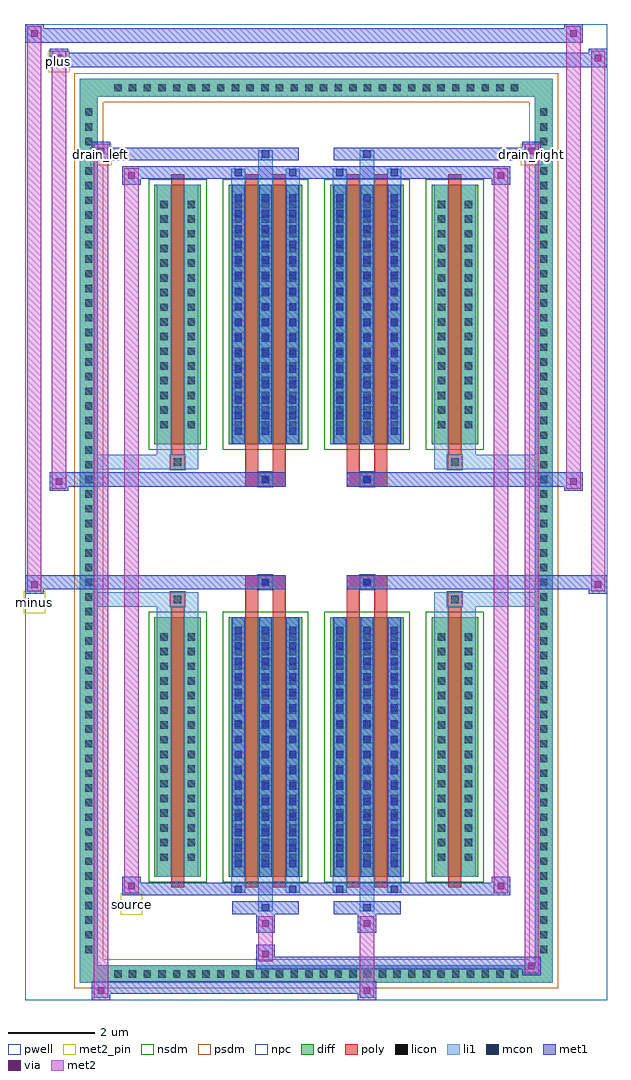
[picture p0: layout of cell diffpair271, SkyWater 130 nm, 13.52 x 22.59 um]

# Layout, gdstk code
import gdstk
lib = gdstk.Library(unit=1e-6, precision=5e-09)
def R(c, l, rs):  # rectangles x0, y0, x1, y1
    for r in rs: c.add(gdstk.rectangle(r[:2], r[2:], *l))
def A(c, l, x, y, w, h, nx, ny, dx, dy):  # array of equal rectangles
    R(c, l, [(x+i*dx, y+j*dy, x+i*dx+w, y+j*dy+h) for i in range(nx) for j in range(ny)])
def P(c, l, *ps):  # polygons
    for p in ps: c.add(gdstk.Polygon(p, *l))
pwell = (64, 44)
diff = (65, 20)
poly = (66, 20)
licon = (66, 44)
li1 = (67, 20)
mcon = (67, 44)
met1 = (68, 20)
via = (68, 44)
met2_pin = (69, 16)
met2 = (69, 20)
nsdm = (93, 44)
psdm = (94, 20)
npc = (95, 20)

diffpair271 = lib.new_cell('diffpair271')
R(diffpair271, pwell, [(-6.74,-10.86,6.74,11.73), (-4.06,-9.05,-0.01,-0.825), (0.01,-9.05,4.06,-0.825), (-4.06,0.825,-0.01,9.05), (0.01,0.825,4.06,9.05)])
A(diffpair271, diff, -4.795, -10.46, 0.41, 0.41, 28, 2, 0.34, 20.51)
A(diffpair271, diff, -5.47, -9.895, 0.41, 0.41, 1, 58, 0, 0.34)
A(diffpair271, diff, 5.06, -9.895, 0.41, 0.41, 1, 58, 0, 0.34)
R(diffpair271, diff, [(-4.795,-10.46,4.795,-10.05), (-5.47,-9.895,-5.06,9.895), (5.06,-9.895,5.47,9.895), (-3.75,-8.005,-2.67,-2.005), (-2.03,-8.005,-0.32,-2.005), (0.32,-8.005,2.03,-2.005), (2.67,-8.005,3.75,-2.005), (-3.75,2.005,-2.67,8.005), (-2.03,2.005,-0.32,8.005), (0.32,2.005,2.03,8.005), (2.67,2.005,3.75,8.005), (-4.795,10.05,4.795,10.46)])
P(diffpair271, diff, [(5.47,10.46),(-5.47,10.46),(-5.47,-10.05),(-5.06,-10.05),(-5.06,10.05),(5.06,10.05),(5.06,-10.05),(-5.06,-10.05),(-5.47,-10.05),(-5.47,-10.46),(5.47,-10.46)])
R(diffpair271, poly, [(-3.36,-8.255,-3.06,-1.755), (-1.64,-8.255,-1.34,-1.755), (-1.01,-8.255,-0.71,-1.755), (0.71,-8.255,1.01,-1.755), (1.34,-8.255,1.64,-1.755), (3.06,-8.255,3.36,-1.755), (-3.375,-1.755,-3.045,-1.425), (-3.375,-1.755,-3.045,-1.425), (-1.64,-1.755,-1.34,-1.355), (-1.01,-1.755,-0.71,-1.355), (0.71,-1.755,1.01,-1.355), (1.34,-1.755,1.64,-1.355), (3.045,-1.755,3.375,-1.425), (3.045,-1.755,3.375,-1.425), (-1.64,-1.355,-0.71,-1.025), (-1.34,-1.355,-1.01,-1.025), (0.71,-1.355,1.64,-1.025), (1.01,-1.355,1.34,-1.025), (-1.64,1.025,-0.71,1.355), (-1.34,1.025,-1.01,1.355), (0.71,1.025,1.64,1.355), (1.01,1.025,1.34,1.355), (-1.64,1.355,-1.34,1.755), (-1.01,1.355,-0.71,1.755), (0.71,1.355,1.01,1.755), (1.34,1.355,1.64,1.755), (-3.375,1.425,-3.045,1.755), (-3.375,1.425,-3.045,1.755), (3.045,1.425,3.375,1.755), (3.045,1.425,3.375,1.755), (-3.36,1.755,-3.06,8.255), (-1.64,1.755,-1.34,8.255), (-1.01,1.755,-0.71,8.255), (0.71,1.755,1.01,8.255), (1.34,1.755,1.64,8.255), (3.06,1.755,3.36,8.255)])
A(diffpair271, licon, -4.675, -10.34, 0.17, 0.17, 28, 2, 0.34, 20.51)
A(diffpair271, licon, -5.35, -9.775, 0.17, 0.17, 1, 58, 0, 0.34)
A(diffpair271, licon, 5.18, -9.775, 0.17, 0.17, 1, 58, 0, 0.34)
A(diffpair271, licon, -3.61, -7.64, 0.17, 0.17, 1, 16, 0, 0.34)
A(diffpair271, licon, -2.98, -7.64, 0.17, 0.17, 1, 16, 0, 0.34)
A(diffpair271, licon, -1.89, -7.64, 0.17, 0.17, 3, 16, 0.63, 0.34)
A(diffpair271, licon, 0.46, -7.64, 0.17, 0.17, 3, 16, 0.63, 0.34)
A(diffpair271, licon, 2.81, -7.64, 0.17, 0.17, 1, 16, 0, 0.34)
A(diffpair271, licon, 3.44, -7.64, 0.17, 0.17, 1, 16, 0, 0.34)
A(diffpair271, licon, -3.61, 2.37, 0.17, 0.17, 1, 16, 0, 0.34)
A(diffpair271, licon, -2.98, 2.37, 0.17, 0.17, 1, 16, 0, 0.34)
A(diffpair271, licon, -1.89, 2.37, 0.17, 0.17, 3, 16, 0.63, 0.34)
A(diffpair271, licon, 0.46, 2.37, 0.17, 0.17, 3, 16, 0.63, 0.34)
A(diffpair271, licon, 2.81, 2.37, 0.17, 0.17, 1, 16, 0, 0.34)
A(diffpair271, licon, 3.44, 2.37, 0.17, 0.17, 1, 16, 0, 0.34)
R(diffpair271, licon, [(-3.295,-1.675,-3.125,-1.505), (3.125,-1.675,3.295,-1.505), (-1.26,-1.275,-1.09,-1.105), (1.09,-1.275,1.26,-1.105), (-1.26,1.105,-1.09,1.275), (1.09,1.105,1.26,1.275), (-3.295,1.505,-3.125,1.675), (3.125,1.505,3.295,1.675)])
A(diffpair271, li1, -4.755, -10.42, 0.33, 0.33, 28, 2, 0.34, 20.51)
A(diffpair271, li1, -5.43, -9.855, 0.33, 0.33, 1, 58, 0, 0.34)
A(diffpair271, li1, 5.1, -9.855, 0.33, 0.33, 1, 58, 0, 0.34)
A(diffpair271, li1, -1.97, -8.005, 0.33, 6, 3, 2, 0.63, 10.01)
A(diffpair271, li1, 0.38, -8.005, 0.33, 6, 3, 2, 0.63, 10.01)
A(diffpair271, li1, -1.89, -7.79, 0.17, 0.17, 3, 16, 0.63, 0.36)
A(diffpair271, li1, -1.89, -7.79, 0.17, 5.57, 3, 2, 0.63, 10.01)
A(diffpair271, li1, 0.46, -7.79, 0.17, 0.17, 3, 16, 0.63, 0.36)
A(diffpair271, li1, 0.46, -7.79, 0.17, 5.57, 3, 2, 0.63, 10.01)
A(diffpair271, li1, -3.69, -7.72, 0.33, 0.33, 1, 16, 0, 0.34)
A(diffpair271, li1, -3.06, -7.72, 0.33, 0.33, 1, 16, 0, 0.34)
A(diffpair271, li1, -1.97, -7.72, 0.33, 0.33, 3, 16, 0.63, 0.34)
A(diffpair271, li1, 0.38, -7.72, 0.33, 0.33, 3, 16, 0.63, 0.34)
A(diffpair271, li1, 2.73, -7.72, 0.33, 0.33, 1, 16, 0, 0.34)
A(diffpair271, li1, 3.36, -7.72, 0.33, 0.33, 1, 16, 0, 0.34)
A(diffpair271, li1, -1.89, 2.22, 0.17, 0.17, 3, 16, 0.63, 0.36)
A(diffpair271, li1, 0.46, 2.22, 0.17, 0.17, 3, 16, 0.63, 0.36)
A(diffpair271, li1, -3.69, 2.29, 0.33, 0.33, 1, 16, 0, 0.34)
A(diffpair271, li1, -3.06, 2.29, 0.33, 0.33, 1, 16, 0, 0.34)
A(diffpair271, li1, -1.97, 2.29, 0.33, 0.33, 3, 16, 0.63, 0.34)
A(diffpair271, li1, 0.38, 2.29, 0.33, 0.33, 3, 16, 0.63, 0.34)
A(diffpair271, li1, 2.73, 2.29, 0.33, 0.33, 1, 16, 0, 0.34)
A(diffpair271, li1, 3.36, 2.29, 0.33, 0.33, 1, 16, 0, 0.34)
R(diffpair271, li1, [(-5.47,-10.46,-5.06,-10.05), (-5.47,-10.46,-5.06,-10.05), (-5.06,-10.46,5.06,-10.05), (5.06,-10.46,5.47,-10.05), (5.06,-10.46,5.47,-10.05), (-5.47,-10.05,-5.06,10.05), (5.06,-10.05,5.47,10.05), (-1.34,-8.81,-1.01,-8.005), (-1.26,-8.81,-1.09,-8.64), (1.01,-8.81,1.34,-8.005), (1.09,-8.81,1.26,-8.64), (-1.97,-8.38,-1.64,-8.005), (-1.89,-8.38,-1.72,-8.21), (-0.71,-8.38,-0.38,-8.005), (-0.63,-8.38,-0.46,-8.21), (0.38,-8.38,0.71,-8.005), (0.46,-8.38,0.63,-8.21), (1.64,-8.38,1.97,-8.005), (1.72,-8.38,1.89,-8.21), (-3.69,-8.005,-3.36,-2.005), (-3.06,-8.005,-2.73,-2.005), (2.73,-8.005,3.06,-2.005), (3.36,-8.005,3.69,-2.005), (-3.69,-2.005,-3.36,-1.425), (-3.06,-2.005,-2.73,-1.425), (2.73,-2.005,3.06,-1.425), (3.36,-2.005,3.69,-1.425), (-5.47,-1.755,-3.375,-1.425), (-3.69,-1.755,-3.375,-1.425), (-3.375,-1.755,-3.045,-1.425), (-3.045,-1.755,-2.73,-1.425), (2.73,-1.755,3.045,-1.425), (3.045,-1.755,3.375,-1.425), (3.045,-1.755,5.47,-1.425), (3.375,-1.755,3.69,-1.425), (-1.34,-1.355,-1.01,-1.025), (1.01,-1.355,1.34,-1.025), (-1.34,1.025,-1.01,1.355), (1.01,1.025,1.34,1.355), (-5.47,1.425,-3.375,1.755), (-3.69,1.425,-3.375,1.755), (-3.69,1.425,-3.36,2.005), (-3.375,1.425,-3.045,1.755), (-3.06,1.425,-2.73,2.005), (-3.045,1.425,-2.73,1.755), (2.73,1.425,3.045,1.755), (2.73,1.425,3.06,2.005), (3.045,1.425,3.375,1.755), (3.045,1.425,5.47,1.755), (3.36,1.425,3.69,2.005), (3.375,1.425,3.69,1.755), (-3.69,2.005,-3.36,8.005), (-3.06,2.005,-2.73,8.005), (2.73,2.005,3.06,8.005), (3.36,2.005,3.69,8.005), (-1.97,8.005,-1.64,8.38), (-1.34,8.005,-1.01,8.81), (-0.71,8.005,-0.38,8.38), (0.38,8.005,0.71,8.38), (1.01,8.005,1.34,8.81), (1.64,8.005,1.97,8.38), (-1.89,8.21,-1.72,8.38), (-0.63,8.21,-0.46,8.38), (0.46,8.21,0.63,8.38), (1.72,8.21,1.89,8.38), (-1.26,8.64,-1.09,8.81), (1.09,8.64,1.26,8.81), (-5.47,10.05,-5.06,10.46), (-5.47,10.05,-5.06,10.46), (-5.06,10.05,5.06,10.46), (5.06,10.05,5.47,10.46), (5.06,10.05,5.47,10.46)])
A(diffpair271, mcon, -1.89, -7.79, 0.17, 0.17, 3, 16, 0.63, 0.36)
A(diffpair271, mcon, 0.46, -7.79, 0.17, 0.17, 3, 16, 0.63, 0.36)
A(diffpair271, mcon, -1.89, 2.22, 0.17, 0.17, 3, 16, 0.63, 0.36)
A(diffpair271, mcon, 0.46, 2.22, 0.17, 0.17, 3, 16, 0.63, 0.36)
R(diffpair271, mcon, [(-1.26,-8.81,-1.09,-8.64), (1.09,-8.81,1.26,-8.64), (-1.89,-8.38,-1.72,-8.21), (-0.63,-8.38,-0.46,-8.21), (0.46,-8.38,0.63,-8.21), (1.72,-8.38,1.89,-8.21), (-1.26,-1.275,-1.09,-1.105), (1.09,-1.275,1.26,-1.105), (-1.26,1.105,-1.09,1.275), (1.09,1.105,1.26,1.275), (-1.89,8.21,-1.72,8.38), (-0.63,8.21,-0.46,8.38), (0.46,8.21,0.63,8.38), (1.72,8.21,1.89,8.38), (-1.26,8.64,-1.09,8.81), (1.09,8.64,1.26,8.81)])
A(diffpair271, met1, -1.95, -8.005, 0.29, 6, 3, 2, 0.63, 10.01)
A(diffpair271, met1, 0.4, -8.005, 0.29, 6, 3, 2, 0.63, 10.01)
A(diffpair271, met1, -1.95, -7.85, 0.29, 0.29, 3, 16, 0.63, 0.36)
A(diffpair271, met1, 0.4, -7.85, 0.29, 0.29, 3, 16, 0.63, 0.36)
A(diffpair271, met1, -1.95, 2.16, 0.29, 0.29, 3, 16, 0.63, 0.36)
A(diffpair271, met1, 0.4, 2.16, 0.29, 0.29, 3, 16, 0.63, 0.36)
R(diffpair271, met1, [(-5.2,-10.86,-4.77,-10.43), (0.96,-10.86,1.39,-10.43), (-5.2,-10.72,1.39,-10.43), (4.77,-10.29,5.2,-9.86), (-1.39,-10.15,5.2,-9.86), (-1.39,-10.01,-0.96,-9.58), (-1.39,-9.3,-0.96,-8.87), (0.96,-9.3,1.39,-8.87), (-1.95,-8.87,-0.4,-8.58), (-1.32,-8.87,-1.03,-8.58), (0.4,-8.87,1.95,-8.58), (1.03,-8.87,1.32,-8.58), (-4.49,-8.44,-4.06,-8.01), (-4.49,-8.44,-1.95,-8.15), (-1.95,-8.44,-1.66,-8.15), (-1.95,-8.44,-0.4,-8.15), (-0.69,-8.44,-0.4,-8.15), (-0.4,-8.44,0.4,-8.15), (0.4,-8.44,0.69,-8.15), (0.4,-8.44,1.95,-8.15), (1.66,-8.44,1.95,-8.15), (1.95,-8.44,4.49,-8.15), (4.06,-8.44,4.49,-8.01), (-6.74,-1.455,-6.31,-1.025), (6.31,-1.455,6.74,-1.025), (-6.74,-1.355,-0.71,-1.025), (-1.64,-1.355,-0.71,-1.025), (0.71,-1.355,1.64,-1.025), (0.71,-1.355,6.74,-1.025), (-1.32,-1.335,-1.03,-1.045), (1.03,-1.335,1.32,-1.045), (-6.17,0.925,-5.74,1.355), (5.74,0.925,6.17,1.355), (-6.17,1.025,-1.64,1.355), (-1.64,1.025,-0.71,1.355), (0.71,1.025,1.64,1.355), (1.64,1.025,6.17,1.355), (-1.32,1.045,-1.03,1.335), (1.03,1.045,1.32,1.335), (-4.49,8.01,-4.06,8.44), (4.06,8.01,4.49,8.44), (-4.49,8.15,-1.95,8.44), (-1.95,8.15,-1.66,8.44), (-1.95,8.15,-0.4,8.44), (-0.69,8.15,-0.4,8.44), (-0.4,8.15,0.4,8.44), (0.4,8.15,0.69,8.44), (0.4,8.15,1.95,8.44), (1.66,8.15,1.95,8.44), (1.95,8.15,4.49,8.44), (-5.2,8.58,-4.77,9.01), (-5.2,8.58,-1.95,8.87), (-1.95,8.58,-0.4,8.87), (-1.32,8.58,-1.03,8.87), (0.4,8.58,1.95,8.87), (1.03,8.58,1.32,8.87), (1.95,8.58,5.2,8.87), (4.77,8.58,5.2,9.01), (-6.17,10.73,-5.74,11.16), (-6.17,10.73,-4.06,11.06), (-4.06,10.73,4.06,11.06), (4.06,10.73,6.74,11.06), (6.31,10.73,6.74,11.16), (-6.74,11.3,-6.31,11.73), (-6.74,11.3,-4.06,11.63), (-4.06,11.3,4.06,11.63), (4.06,11.3,6.17,11.63), (5.74,11.3,6.17,11.73)])
R(diffpair271, via, [(-5.06,-10.72,-4.91,-10.57), (1.1,-10.72,1.25,-10.57), (4.91,-10.15,5.06,-10), (-1.25,-9.87,-1.1,-9.72), (-1.25,-9.16,-1.1,-9.01), (1.1,-9.16,1.25,-9.01), (-4.35,-8.3,-4.2,-8.15), (4.2,-8.3,4.35,-8.15), (-6.6,-1.315,-6.45,-1.165), (6.45,-1.315,6.6,-1.165), (-6.03,1.065,-5.88,1.215), (5.88,1.065,6.03,1.215), (-4.35,8.15,-4.2,8.3), (4.2,8.15,4.35,8.3), (-5.06,8.72,-4.91,8.87), (4.91,8.72,5.06,8.87), (-6.03,10.87,-5.88,11.02), (6.45,10.87,6.6,11.02), (-6.6,11.44,-6.45,11.59), (5.88,11.44,6.03,11.59)])
R(diffpair271, met2_pin, [(-4.525,-8.89,-4.025,-8.39), (-6.775,-1.905,-6.275,-1.405), (-5.235,8.46,-4.735,8.96), (4.735,8.46,5.235,8.96), (-6.205,10.61,-5.705,11.11)])
R(diffpair271, met2, [(-5.15,-10.81,-4.82,-10.48), (-5.15,-10.81,-4.82,8.96), (1.01,-10.81,1.34,-10.48), (1.01,-10.48,1.34,-9.25), (4.82,-10.24,5.15,-9.91), (4.82,-10.24,5.15,8.96), (-1.34,-9.96,-1.01,-9.63), (-1.34,-9.63,-1.01,-9.25), (-1.34,-9.25,-1.01,-8.92), (1.01,-9.25,1.34,-8.92), (-4.44,-8.39,-4.11,-8.06), (-4.44,-8.39,-4.11,8.39), (4.11,-8.39,4.44,-8.06), (4.11,-8.39,4.44,8.39), (-6.69,-1.405,-6.36,-1.075), (-6.69,-1.405,-6.36,11.68), (6.36,-1.405,6.69,-1.075), (6.36,-1.405,6.69,11.11), (-6.12,0.975,-5.79,1.305), (-6.12,0.975,-5.79,11.11), (5.79,0.975,6.12,1.305), (5.79,0.975,6.12,11.68), (-4.44,8.06,-4.11,8.39), (4.11,8.06,4.44,8.39), (-5.15,8.63,-4.82,8.96), (4.82,8.63,5.15,8.96), (-6.12,10.78,-5.79,11.11), (6.36,10.78,6.69,11.11), (-6.69,11.35,-6.36,11.68), (5.79,11.35,6.12,11.68)])
P(diffpair271, met2, [(6.69,-1.405),(6.69,-1.405),(6.69,-1.075),(6.69,-1.075)],
  [(6.69,10.78),(6.69,10.78),(6.69,11.11),(6.69,11.11)],
  [(-6.36,-1.405),(-6.36,-1.405),(-6.36,-1.075),(-6.36,-1.075)],
  [(-6.36,11.35),(-6.36,11.35),(-6.36,11.68),(-6.36,11.68)],
  [(6.12,0.975),(6.12,0.975),(6.12,1.305),(6.12,1.305)],
  [(6.12,11.35),(6.12,11.35),(6.12,11.68),(6.12,11.68)],
  [(-5.79,0.975),(-5.79,0.975),(-5.79,1.305),(-5.79,1.305)],
  [(-5.79,10.78),(-5.79,10.78),(-5.79,11.11),(-5.79,11.11)],
  [(-4.82,-10.81),(-4.82,-10.81),(-4.82,-10.48),(-4.82,-10.48)],
  [(-4.82,8.63),(-4.82,8.63),(-4.82,8.96),(-4.82,8.96)],
  [(5.15,-10.24),(5.15,-10.24),(5.15,-9.91),(5.15,-9.91)],
  [(5.15,8.63),(5.15,8.63),(5.15,8.96),(5.15,8.96)],
  [(-4.11,-8.39),(-4.11,-8.39),(-4.11,-8.06),(-4.11,-8.06)],
  [(-4.11,8.06),(-4.11,8.06),(-4.11,8.39),(-4.11,8.39)],
  [(4.44,-8.39),(4.44,-8.39),(4.44,-8.06),(4.44,-8.06)],
  [(4.44,8.06),(4.44,8.06),(4.44,8.39),(4.44,8.39)])
R(diffpair271, nsdm, [(-3.88,-8.135,-2.54,-1.875), (-2.16,-8.135,-0.19,-1.875), (0.19,-8.135,2.16,-1.875), (2.54,-8.135,3.88,-1.875), (-3.88,1.875,-2.54,8.135), (-2.16,1.875,-0.19,8.135), (0.19,1.875,2.16,8.135), (2.54,1.875,3.88,8.135)])
P(diffpair271, psdm, [(5.6,10.59),(-5.6,10.59),(-5.6,-9.92),(-4.93,-9.92),(-4.93,9.92),(4.93,9.92),(4.93,-9.92),(-4.93,-9.92),(-5.6,-9.92),(-5.6,-10.59),(5.6,-10.59)])
R(diffpair271, npc, [(-3.395,-1.775,-3.025,-1.405), (3.025,-1.775,3.395,-1.405), (-1.36,-1.375,-0.99,-1.005), (0.99,-1.375,1.36,-1.005), (-1.36,1.005,-0.99,1.375), (0.99,1.005,1.36,1.375), (-3.395,1.405,-3.025,1.775), (3.025,1.405,3.395,1.775)])
diffpair271.add(gdstk.Label('minus', (-6.525,-1.655), layer=69, texttype=5))
diffpair271.add(gdstk.Label('drain_right', (4.985,8.71), layer=69, texttype=5))
diffpair271.add(gdstk.Label('drain_left', (-4.985,8.71), layer=69, texttype=5))
diffpair271.add(gdstk.Label('source', (-4.275,-8.64), layer=69, texttype=5))
diffpair271.add(gdstk.Label('plus', (-5.955,10.86), layer=69, texttype=5))

lib.write_gds('diffpair271.gds')
